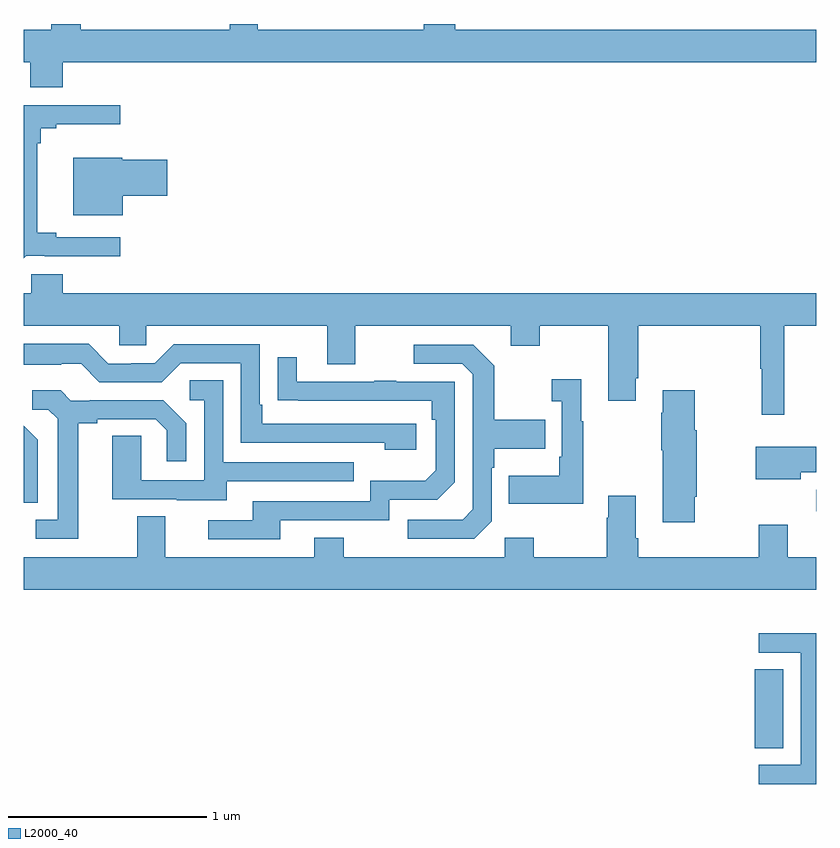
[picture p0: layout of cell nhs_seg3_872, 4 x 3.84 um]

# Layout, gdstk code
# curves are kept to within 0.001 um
import gdstk
lib = gdstk.Library(unit=1e-6, precision=1e-09)
def R(c, l, rs):  # rectangles x0, y0, x1, y1
    for r in rs: c.add(gdstk.rectangle(r[:2], r[2:], *l))
def P(c, l, *ps):  # polygons
    for p in ps: c.add(gdstk.Polygon(p, *l))
L2000_40 = (2000, 40)

nhs_seg3_872 = lib.new_cell('nhs_seg3_872')
R(nhs_seg3_872, L2000_40, [(158.69,738.745,158.833,739.142), (158.999,739.941,159,740.049)])
P(nhs_seg3_872, L2000_40, [(155.197,742.208),(159,742.208),(159,742.372),(157.178,742.372),(157.178,742.4),(157.018,742.4),(157.018,742.372),(156.181,742.372),(156.181,742.4),(156.041,742.4),(156.041,742.372),(155.287,742.372),(155.287,742.4),(155.14,742.4),(155.14,742.372),(155,742.372),(155,742.208),(155.033,742.208),(155.033,742.08),(155.197,742.08)],
  [(155.013,741.231),(155.107,741.231),(155.107,741.227),(155.488,741.227),(155.488,741.324),(155.164,741.324),(155.164,741.347),(155.069,741.347),(155.069,741.797),(155.087,741.797),(155.087,741.874),(155.164,741.874),(155.164,741.893),(155.488,741.893),(155.488,741.99),(155,741.99),(155,741.218)],
  [(155.5,741.533),(155.725,741.533),(155.725,741.716),(155.496,741.716),(155.496,741.724),(155.249,741.724),(155.249,741.434),(155.5,741.434)],
  [(158.839,740.876),(159,740.876),(159,741.04),(155.198,741.04),(155.198,741.138),(155.038,741.138),(155.038,741.04),(155,741.04),(155,740.876),(155.481,740.876),(155.481,740.778),(155.619,740.778),(155.619,740.876),(156.533,740.876),(156.533,740.682),(156.673,740.682),(156.673,740.876),(157.457,740.876),(157.457,740.777),(157.605,740.777),(157.605,740.876),(157.949,740.876),(157.949,740.499),(158.089,740.499),(158.089,740.611),(158.102,740.611),(158.102,740.876),(158.718,740.876),(158.718,740.66),(158.725,740.66),(158.725,740.427),(158.839,740.427)],
  [(156.982,740.382),(156.205,740.382),(156.205,740.479),(156.192,740.479),(156.192,740.784),(155.757,740.784),(155.661,740.688),(155.543,740.688),(155.543,740.685),(155.427,740.685),(155.327,740.785),(155,740.785),(155,740.681),(155.189,740.681),(155.189,740.685),(155.289,740.685),(155.382,740.592),(155.697,740.592),(155.793,740.688),(156.096,740.688),(156.096,740.286),(156.821,740.286),(156.821,740.252),(156.982,740.252)],
  [(157.362,739.89),(157.362,740.159),(157.375,740.159),(157.375,740.255),(157.631,740.255),(157.631,740.403),(157.375,740.403),(157.375,740.675),(157.269,740.781),(156.969,740.781),(156.969,740.685),(157.212,740.685),(157.266,740.631),(157.266,739.95),(157.215,739.899),(156.939,739.899),(156.939,739.803),(157.275,739.803)],
  [(156.295,739.896),(156.846,739.896),(156.846,739.998),(157.086,739.998),(157.176,740.088),(157.176,740.595),(156.881,740.595),(156.881,740.6),(156.769,740.6),(156.769,740.595),(156.379,740.595),(156.379,740.719),(156.283,740.719),(156.283,740.5),(157.06,740.499),(157.06,740.402),(157.08,740.402),(157.08,740.148),(157.027,740.095),(156.75,740.095),(156.75,739.992),(156.155,739.992),(156.155,739.896),(155.931,739.896),(155.931,739.8),(156.295,739.8)],
  [(157.825,740.395),(157.813,740.395),(157.813,740.608),(157.665,740.608),(157.665,740.495),(157.716,740.495),(157.716,740.215),(157.704,740.215),(157.704,740.119),(157.447,740.119),(157.447,739.979),(157.825,739.979)],
  [(156.025,740.091),(156.665,740.091),(156.665,740.187),(156.006,740.187),(156.006,740.603),(155.838,740.603),(155.838,740.502),(155.91,740.502),(155.91,740.097),(155.592,740.097),(155.592,740.321),(155.447,740.321),(155.447,740.001),(155.771,740.001),(155.771,739.997),(156.025,739.997)],
  [(155.275,740.384),(155.371,740.384),(155.371,740.406),(155.666,740.406),(155.723,740.349),(155.723,740.193),(155.82,740.193),(155.82,740.386),(155.704,740.502),(155.332,740.502),(155.332,740.499),(155.238,740.499),(155.186,740.551),(155.043,740.551),(155.043,740.454),(155.124,740.454),(155.171,740.407),(155.171,739.899),(155.061,739.899),(155.061,739.803),(155.275,739.803)],
  [(158.388,740.013),(158.398,740.013),(158.398,740.349),(158.388,740.349),(158.388,740.551),(158.225,740.551),(158.225,740.438),(158.218,740.438),(158.218,740.249),(158.225,740.249),(158.225,739.884),(158.388,739.884)],
  [(155.07,740.302),(155,740.372),(155,739.984),(155.07,739.984)],
  [(158.923,740.138),(159,740.138),(159,740.266),(158.694,740.266),(158.694,740.102),(158.923,740.102)],
  [(159,739.708),(158.857,739.708),(158.857,739.873),(158.71,739.873),(158.71,739.708),(158.102,739.708),(158.102,739.804),(158.089,739.804),(158.089,740.02),(157.949,740.02),(157.949,739.907),(157.942,739.907),(157.942,739.708),(157.575,739.708),(157.575,739.807),(157.428,739.807),(157.428,739.708),(156.615,739.708),(156.615,739.807),(156.467,739.807),(156.467,739.708),(155.713,739.708),(155.713,739.916),(155.573,739.916),(155.573,739.708),(155,739.708),(155,739.544),(159,739.544)],
  [(159,739.326),(158.709,739.326),(158.709,739.227),(158.922,739.227),(158.922,738.66),(158.709,738.66),(158.709,738.564),(159,738.564)])

lib.write_gds('nhs_seg3_872.gds')
